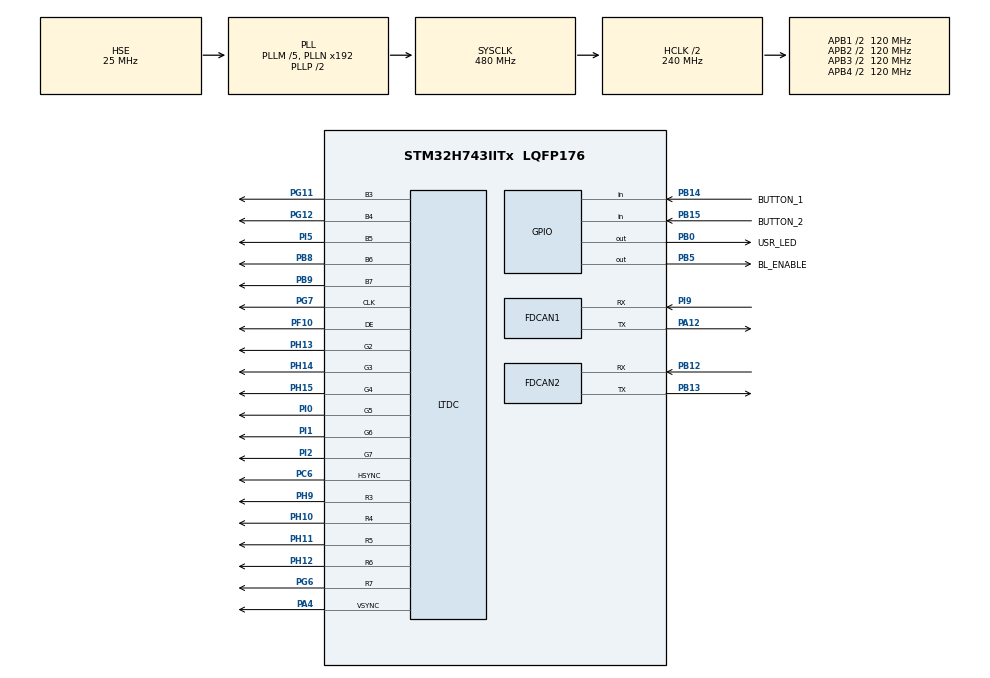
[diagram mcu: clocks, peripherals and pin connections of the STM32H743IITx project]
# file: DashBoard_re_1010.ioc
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CORTEX_M7.default_mode_Activation=1
DMA2D.ColorMode=DMA2D_OUTPUT_RGB565
FDCAN1.CalculateBaudRateNominal=625000
FDCAN1.CalculateTimeBitNominal=1600
FDCAN1.CalculateTimeQuantumNominal=533.3333333333334
FDCAN1.MessageRAMOffset=0
FDCAN2.AutoRetransmission=DISABLE
FDCAN2.CalculateBaudRateNominal=1000000
FDCAN2.CalculateTimeBitNominal=1000
FDCAN2.CalculateTimeQuantumNominal=100.0
FDCAN2.DataPrescaler=5
FDCAN2.DataSyncJumpWidth=2
FDCAN2.DataTimeSeg1=7
FDCAN2.DataTimeSeg2=2
FDCAN2.FrameFormat=FDCAN_FRAME_FD_NO_BRS
FDCAN2.MessageRAMOffset=0x4E4
FDCAN2.Mode=FDCAN_MODE_BUS_MONITORING
FDCAN2.NominalPrescaler=3
FDCAN2.NominalSyncJumpWidth=4
FDCAN2.NominalTimeSeg1=7
FDCAN2.NominalTimeSeg2=2
FDCAN2.RxBufferSize=FDCAN_DATA_BYTES_8
FDCAN2.RxBuffersNbr=0
FDCAN2.RxFifo0ElmtSize=FDCAN_DATA_BYTES_64
FDCAN2.RxFifo0ElmtsNbr=32
FDCAN2.RxFifo1ElmtSize=FDCAN_DATA_BYTES_64
FDCAN2.RxFifo1ElmtsNbr=0
FDCAN2.StdFiltersNbr=50
FDCAN2.TxBuffersNbr=1
FDCAN2.TxElmtSize=FDCAN_DATA_BYTES_8
LTDC.ActiveH=272
LTDC.ActiveW=480
LTDC.Alpha_L0=255
LTDC.Blue=0
LTDC.Blue_L0=0
LTDC.DEPolarity=LTDC_DEPOLARITY_AH
LTDC.FBStartAdress_L0=(uint32_t)FRAMEBUFFER
LTDC.Green=0
LTDC.HBP=43
LTDC.HFP=8
LTDC.HSync=4
LTDC.ImageHeight_L0=272
LTDC.ImageWidth_L0=480
LTDC.Layers=0
LTDC.PixelFormat_L0=LTDC_PIXEL_FORMAT_RGB565
LTDC.Red=0
LTDC.VBP=12
LTDC.VFP=8
LTDC.VSync=4
LTDC.WindowX1_L0=480
LTDC.WindowY1_L0=272
Mcu.Family=STM32H7
Mcu.Name=STM32H743IITx
Mcu.Package=LQFP176
NVIC.FDCAN2_IT0_IRQn=true\:0\:0\:false\:false\:true\:true\:true\:true
NVIC.PriorityGroup=NVIC_PRIORITYGROUP_4
PA12.Mode=FDCAN_Activate
PA12.Signal=FDCAN1_TX
PA13\ (JTMS/SWDIO).Mode=Serial_Wire
PA13\ (JTMS/SWDIO).Signal=DEBUG_JTMS-SWDIO
PA14\ (JTCK/SWCLK).Mode=Serial_Wire
PA14\ (JTCK/SWCLK).Signal=DEBUG_JTCK-SWCLK
PA4.GPIO_Speed=GPIO_SPEED_FREQ_VERY_HIGH
PA4.Mode=RGB565
PA4.Signal=LTDC_VSYNC
PB0.GPIO_Label=USR_LED
PB0.Signal=GPIO_Output
PB12.Mode=FDCAN_Activate
PB12.Signal=FDCAN2_RX
PB13.Mode=FDCAN_Activate
PB13.Signal=FDCAN2_TX
PB14.GPIO_Label=BUTTON_1
PB14.Signal=GPIO_Input
PB15.GPIO_Label=BUTTON_2
PB15.Signal=GPIO_Input
PB5.GPIO_Label=BL_ENABLE
PB5.Signal=GPIO_Output
PB8.GPIO_Speed=GPIO_SPEED_FREQ_VERY_HIGH
PB8.Mode=RGB565
PB8.Signal=LTDC_B6
PB9.GPIO_Speed=GPIO_SPEED_FREQ_VERY_HIGH
PB9.Mode=RGB565
PB9.Signal=LTDC_B7
PC6.GPIO_Speed=GPIO_SPEED_FREQ_VERY_HIGH
PC6.Mode=RGB565
PC6.Signal=LTDC_HSYNC
PF10.GPIO_Speed=GPIO_SPEED_FREQ_VERY_HIGH
PF10.Mode=RGB565
PF10.Signal=LTDC_DE
PG11.GPIO_Speed=GPIO_SPEED_FREQ_VERY_HIGH
PG11.Mode=RGB565
PG11.Signal=LTDC_B3
PG12.GPIO_Speed=GPIO_SPEED_FREQ_VERY_HIGH
PG12.Mode=RGB565
PG12.Signal=LTDC_B4
PG6.GPIO_Speed=GPIO_SPEED_FREQ_VERY_HIGH
PG6.Mode=RGB565
PG6.Signal=LTDC_R7
PG7.GPIO_Speed=GPIO_SPEED_FREQ_VERY_HIGH
PG7.Mode=RGB565
PG7.Signal=LTDC_CLK
PH0-OSC_IN\ (PH0).Mode=HSE-External-Oscillator
PH0-OSC_IN\ (PH0).Signal=RCC_OSC_IN
PH1-OSC_OUT\ (PH1).Mode=HSE-External-Oscillator
PH1-OSC_OUT\ (PH1).Signal=RCC_OSC_OUT
PH10.GPIO_Speed=GPIO_SPEED_FREQ_VERY_HIGH
PH10.Mode=RGB565
PH10.Signal=LTDC_R4
PH11.GPIO_Speed=GPIO_SPEED_FREQ_VERY_HIGH
PH11.Mode=RGB565
PH11.Signal=LTDC_R5
PH12.GPIO_Speed=GPIO_SPEED_FREQ_VERY_HIGH
PH12.Mode=RGB565
PH12.Signal=LTDC_R6
PH13.GPIO_Speed=GPIO_SPEED_FREQ_VERY_HIGH
PH13.Mode=RGB565
PH13.Signal=LTDC_G2
PH14.GPIO_Speed=GPIO_SPEED_FREQ_VERY_HIGH
PH14.Mode=RGB565
PH14.Signal=LTDC_G3
PH15.GPIO_Speed=GPIO_SPEED_FREQ_VERY_HIGH
PH15.Mode=RGB565
PH15.Signal=LTDC_G4
PH9.GPIO_Speed=GPIO_SPEED_FREQ_VERY_HIGH
PH9.Mode=RGB565
PH9.Signal=LTDC_R3
PI0.GPIO_Speed=GPIO_SPEED_FREQ_VERY_HIGH
PI0.Mode=RGB565
PI0.Signal=LTDC_G5
PI1.GPIO_Speed=GPIO_SPEED_FREQ_VERY_HIGH
PI1.Mode=RGB565
PI1.Signal=LTDC_G6
PI2.GPIO_Speed=GPIO_SPEED_FREQ_VERY_HIGH
PI2.Mode=RGB565
PI2.Signal=LTDC_G7
PI5.GPIO_Speed=GPIO_SPEED_FREQ_VERY_HIGH
PI5.Mode=RGB565
PI5.Signal=LTDC_B5
PI9.Mode=FDCAN_Activate
PI9.Signal=FDCAN1_RX
ProjectManager.HeapSize=0x200
ProjectManager.StackSize=0x400
ProjectManager.TargetToolchain=STM32CubeIDE
RCC.ADCFreq_Value=75000000
RCC.APB1Freq_Value=120000000
RCC.APB2Freq_Value=120000000
RCC.APB3Freq_Value=120000000
RCC.APB4Freq_Value=120000000
RCC.CortexFreq_Value=480000000
RCC.D1PPRE=RCC_APB3_DIV2
RCC.D2PPRE1=RCC_APB1_DIV2
RCC.D2PPRE2=RCC_APB2_DIV2
RCC.D3PPRE=RCC_APB4_DIV2
RCC.DIVM1=5
RCC.DIVM2=2
RCC.DIVM3=1
RCC.DIVN1=192
RCC.DIVN2=12
RCC.DIVN3=6
RCC.DIVQ2=5
RCC.DIVR3=13
RCC.FDCANCLockSelection=RCC_FDCANCLKSOURCE_PLL2
RCC.HCLKFreq_Value=240000000
RCC.HPRE=RCC_HCLK_DIV2
RCC.PLL2FRACN=0
RCC.PLL3FRACN=0
RCC.PLLFRACN=0
RCC.PLLSourceVirtual=RCC_PLLSOURCE_HSE
RCC.PWR_Regulator_Voltage_Scale=PWR_REGULATOR_VOLTAGE_SCALE0
RCC.SYSCLKFreq_VALUE=480000000
RCC.SYSCLKSource=RCC_SYSCLKSOURCE_PLLCLK
RCC.USBFreq_Value=480000000
VP_DMA2D_VS_DMA2D.Mode=DMA2D_Activate
VP_MEMORYMAP_VS_MEMORYMAP.Mode=CurAppReg
board=custom

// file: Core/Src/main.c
/* USER CODE BEGIN Header */
/**
  ******************************************************************************
  * @file           : main.c
  * @brief          : Main program body
  ******************************************************************************
  * @attention
  *
  * Copyright (c) 2025 STMicroelectronics.
  * All rights reserved.
  *
  * This software is licensed under terms that can be found in the LICENSE file
  * in the root directory of this software component.
  * If no LICENSE file comes with this software, it is provided AS-IS.
  *
  ******************************************************************************
  */
/* USER CODE END Header */
#include "main.h"

/* USER CODE BEGIN Includes */
#include "lvgl.h"
#include "ui.h"
#include "screens.h"
#include <string.h>
#include <stdio.h>
#include "ttr_can.h"
#include "bsp_mpu.h"
#include "bsp_sdram.h"
#include "bsp_display.h"
#include "can_rx.h"
#include "debug_overlay.h"
#include "bsp_qspi.h"
#include "vehicle_data.h"
#include "can_decode.h"
#include "ui_bind.h"
#include "gif_pages.h"
#include "nav.h"
#include "game_tetris.h"
#include "cell_map.h"
#include "racer.h"
/* USER CODE END Includes */

/* USER CODE BEGIN PD */
/* LCD_WIDTH / LCD_HEIGHT now live in bsp_display.h */

#define COLOR_RED 0xF800
#define COLOR_ORANGE 0xFD20
#define COLOR_YELLOW 0xFFE0
#define COLOR_GREEN 0x07E0
#define COLOR_BLUE 0x001F
#define COLOR_INDIGO 0x4810
#define COLOR_VIOLET 0x9011

#define HOLD 70

#define GLV_LOW_VOLT 19
#define MAX_MOTOR_SPEED 45535
#define HV_LOW_VOLT 350

/*
 * These periods used to be counted in main loop iterations, but loop speed
 * varies with scene complexity, so the same number meant different amounts of
 * time on different pages. They are all wall-clock milliseconds from
 * HAL_GetTick() now, which behaves predictably.
 */
/* How long the splash screen stays up is decided by UIBind_BootComplete(),
 * which waits for the animation and then for CAN. */
#define UI_UPDATE_PERIOD_MS      25U   /* rate at which the UI re-reads vehicle data (40 Hz) */
/* Button sampling period and debounce now live in Core/User/nav.h, which the
 * simulator shares. */

#define NUM_OF_CELLS 112 //電芯數量
#define DATA_PER_PACK 4 //每個封包有4個電芯的電壓讀值
#define TOTAL_SEG 8 //8個單元
#define NUM_OF_TSENSOR 80
/* USER CODE END PD */

DMA2D_HandleTypeDef hdma2d;

FDCAN_HandleTypeDef hfdcan1;
FDCAN_HandleTypeDef hfdcan2;

LTDC_HandleTypeDef hltdc;

/* USER CODE BEGIN PV */
/*
 * The framebuffer now lives in SDRAM. It used to be a 261 KB array in internal
 * RAM_D1, which consumed half of it. This macro only supplies the initial
 * display address to the CubeMX-generated MX_LTDC_Init(); page flipping is
 * handled by bsp_display.c.
 */
#define FRAMEBUFFER ((uint16_t (*)[LCD_WIDTH])SDRAM_FB0_ADDR)

FDCAN_FilterTypeDef sFilterConfig;
FDCAN_TxHeaderTypeDef TxHeader;
FDCAN_RxHeaderTypeDef RxHeader;

/* Scratch buffer the FDCAN ISR receives into. TTR_CAN_MAX_DLC is 48. */
uint8_t RX[TTR_CAN_MAX_DLC] = {0};

/*
 * QSPI write-path check, triggered from a debugger.
 *
 * Set g_qspi_run_write_test to 1 in a watch window and the main loop runs
 * BSP_QSPI_SelfTestWrite() once, leaving the outcome in
 * g_qspi_write_test_result: 1 for pass, 0 for fail, -1 for not yet run.
 *
 * Triggered rather than run at boot for two reasons: it erases a sector, so
 * doing it every startup wears the part for no reason, and a chip erase or a
 * failed erase blocking for seconds during boot would look like a hang.
 */
volatile uint8_t g_qspi_run_write_test = 0;
volatile int8_t  g_qspi_write_test_result = -1;

/* CAN IDs the hardware filter admits. Order does not matter; the trailing 0
 * terminates the list. Adding one here also needs a matching case in
 * can_decode.c, otherwise the frame arrives and is silently dropped. */
static uint16_t STD_ID_LIST_CAN[35] = {
    TTR_CAN_ID_VCU_VCU_STATE,   TTR_CAN_ID_VCU_VCU_SDC,
    TTR_CAN_ID_VCU_VCU_SENSOR1, TTR_CAN_ID_VCU_VCU_SENSOR2,
    TTR_CAN_ID_VCU_VCU_SYSTEM_STATUS, TTR_CAN_ID_VCU_VCU_ERROR,
    TTR_CAN_ID_VCU_VCU_ONLINE,  TTR_CAN_ID_VCU_VCU_MCU_STATUS,
    TTR_CAN_ID_VCU_VCU_DASH,
    TTR_CAN_ID_VCU_VCU_GPS,     TTR_CAN_ID_AMS_AMS_STATUS_BASIC,
    TTR_CAN_ID_AMS_AMS_MODULE_1, TTR_CAN_ID_AMS_AMS_MODULE_2,
    TTR_CAN_ID_AMS_AMS_MODULE_3, TTR_CAN_ID_AMS_AMS_MODULE_4,
    TTR_CAN_ID_AMS_AMS_MODULE_5, TTR_CAN_ID_AMS_AMS_MODULE_6,
    TTR_CAN_ID_AMS_AMS_MODULE_7, TTR_CAN_ID_AMS_AMS_MODULE_8,
    0
};

/* USER CODE END PV */

void SystemClock_Config(void);
void PeriphCommonClock_Config(void);
static void MPU_Config(void);
static void MX_GPIO_Init(void);
static void MX_LTDC_Init(void);
static void MX_DMA2D_Init(void);
static void MX_FDCAN2_Init(void);
static void MX_FDCAN1_Init(void);
/* USER CODE BEGIN PFP */
static void ScanButtons(void);

/* USER CODE END PFP */

int main(void)
{

  /* USER CODE BEGIN 1 */
  bool welcome_done = false;
  uint32_t last_ui_update = 0;
  uint32_t last_button_scan = 0;
  /* USER CODE END 1 */

  /* MPU Configuration--------------------------------------------------------*/
  MPU_Config();

  /* MCU Configuration--------------------------------------------------------*/

  /* Reset of all peripherals, Initializes the Flash interface and the Systick. */
  HAL_Init();

  /* USER CODE BEGIN Init */
  /*
   * Reconfigure the MPU and turn on I-cache and D-cache.
   *
   * The MPU_Config() call above is CubeMX-generated and marks
   * 0x60000000..0xDFFFFFFF as no-access, a range that contains the SDRAM at
   * 0xC0000000 - the reason the board's 32 MB of SDRAM was unusable. The call
   * below replaces that configuration entirely.
   */
  BSP_MPU_ConfigAndEnableCache();
  /* USER CODE END Init */

  /* Configure the system clock */
  SystemClock_Config();

  /* Configure the peripherals common clocks */
  PeriphCommonClock_Config();

  /* USER CODE BEGIN SysInit */
  /* SDRAM must be ready before MX_LTDC_Init(): LTDC starts fetching from the
   * framebuffer address the moment it is enabled. */
  BSP_SDRAM_Init();
  if (!BSP_SDRAM_SelfTest())
  {
    Error_Handler();
  }

  /*
   * QSPI flash on the core board. Nothing is stored there yet; it is wired up
   * so the driver can be verified against real hardware - check
   * BSP_QSPI_GetJedecId() and BSP_QSPI_GetFlashSize().
   *
   * The return value is deliberately ignored: this chip is spare capacity for
   * artwork after the UI redesign, the dashboard runs fine without it, and it
   * is not worth blanking the display over.
   */
  (void)BSP_QSPI_Init();
  /* USER CODE END SysInit */

  /* Initialize all configured peripherals */
  MX_GPIO_Init();
  MX_LTDC_Init();
  MX_DMA2D_Init();
  MX_FDCAN2_Init();
  MX_FDCAN1_Init();
  /* USER CODE BEGIN 2 */
  HAL_GPIO_WritePin(BL_ENABLE_GPIO_Port, BL_ENABLE_Pin, 1);
  VehicleData_Init();

  BSP_Display_Init();
  ui_init();
  UIBind_Init();
  DebugOverlay_Init();
  Nav_Init();
  GameTetris_Init();
  CellMap_Init();
  Racer_Init();

  /* Animations come from QSPI. Does nothing if the part is blank, so a
   * board that has never been programmed still boots normally. */
  GifPages_Init();

  TxHeader.Identifier = 0x580;
  TxHeader.IdType = FDCAN_STANDARD_ID;
  TxHeader.TxFrameType = FDCAN_DATA_FRAME;
  TxHeader.DataLength = FDCAN_DLC_BYTES_8;
  TxHeader.ErrorStateIndicator = FDCAN_ESI_ACTIVE;
  TxHeader.BitRateSwitch = FDCAN_BRS_ON;
  TxHeader.FDFormat = FDCAN_FD_CAN;
  TxHeader.TxEventFifoControl = FDCAN_NO_TX_EVENTS;
  TxHeader.MessageMarker = 0x0;
  /*
  if(HAL_FDCAN_AddMessageToTxBuffer(&hfdcan2, &TxHeader, TX, FDCAN_TX_BUFFER0) != HAL_OK)
  {
  	Error_Handler();
  }
  */

	HAL_FDCAN_ConfigGlobalFilter(&hfdcan2,
		FDCAN_REJECT, FDCAN_REJECT,
		FDCAN_REJECT, FDCAN_REJECT);

	FDCAN_FilterTypeDef sFilterConfigCAN2 = {0};
	sFilterConfigCAN2.IdType      = FDCAN_STANDARD_ID;
	sFilterConfigCAN2.FilterType  = FDCAN_FILTER_DUAL ;
	sFilterConfigCAN2.FilterConfig= FDCAN_FILTER_TO_RXFIFO0;

	//CAN2
	for (uint32_t i = 0; i < (sizeof(STD_ID_LIST_CAN)/sizeof(STD_ID_LIST_CAN[0])); i++)
	{
		sFilterConfigCAN2.FilterIndex = i;
		sFilterConfigCAN2.FilterID1   = STD_ID_LIST_CAN[i];
		sFilterConfigCAN2.FilterID2   = 0x7FF;
		if (HAL_FDCAN_ConfigFilter(&hfdcan2, &sFilterConfigCAN2) != HAL_OK) {
			Error_Handler();
		}
	}

	  /* Start the FDCAN module */
	if(HAL_FDCAN_Start(&hfdcan2) != HAL_OK)
	{
	Error_Handler();
	}

	HAL_FDCAN_ActivateNotification(&hfdcan2, FDCAN_IT_RX_FIFO0_NEW_MESSAGE, 0);

  HAL_GPIO_WritePin(USR_LED_GPIO_Port, USR_LED_Pin, 1);

  /* USER CODE END 2 */

  /* Infinite loop */
  /* USER CODE BEGIN WHILE */
  while (1)
  {
    const uint32_t now = HAL_GetTick();

    if (g_qspi_run_write_test != 0u)
    {
      g_qspi_run_write_test = 0u;
      g_qspi_write_test_result = BSP_QSPI_SelfTestWrite() ? 1 : 0;
    }

    /* Decode CAN before LVGL renders, so this pass draws the newest values. */
    CAN_Poll();

    /*
     * LVGL timers and rendering.
     *
     * This used to be lv_timer_handler() followed by
     * HAL_Delay(time_till_next), which put the whole main loop to sleep for a
     * full refresh period (up to 33 ms). Buttons and data updates were dragged
     * along with it, and widgets touched by updatescreen() had to wait another
     * round to appear - two refresh periods from CAN frame to pixel. The loop
     * no longer sleeps; each task below throttles itself on wall-clock time.
     */
    lv_timer_handler();
    BSP_Display_Service();

    if (!welcome_done && UIBind_BootComplete())
    {
      welcome_done = true;
      Nav_ShowPage(1);
      UIBind_ArmStartupSweep();
    }

    /*
     * Let the EEZ-generated screens poll get_var_xxx() once (implemented in
     * ui_bind.c). The old code wrote widgets directly from updatescreen();
     * the new code has EEZ read its bound variables instead, so this line is
     * essential - without it the display sits at its default values and
     * nothing reports an error.
     */
    if ((now - last_ui_update) >= UI_UPDATE_PERIOD_MS)
    {
      last_ui_update = now;
      ui_tick();
      UIBind_ApplyDynamicStyles();
    }

    /* Cheap while the game page is not up: it returns immediately. */
    GameTetris_Service(now);
    GifPages_ShowcaseService(now);
    CellMap_Service(now);
    Racer_Service(now);

    if ((now - last_button_scan) >= NAV_SCAN_PERIOD_MS)
    {
      last_button_scan = now;
      ScanButtons();
    }

    /* USER CODE END WHILE */

  }
}

void SystemClock_Config(void)
{
  RCC_OscInitTypeDef RCC_OscInitStruct = {0};
  RCC_ClkInitTypeDef RCC_ClkInitStruct = {0};

  /** Supply configuration update enable
  */
  HAL_PWREx_ConfigSupply(PWR_LDO_SUPPLY);

  /** Configure the main internal regulator output voltage
  */
  __HAL_PWR_VOLTAGESCALING_CONFIG(PWR_REGULATOR_VOLTAGE_SCALE0);

  while(!__HAL_PWR_GET_FLAG(PWR_FLAG_VOSRDY)) {}

  /** Initializes the RCC Oscillators according to the specified parameters
  * in the RCC_OscInitTypeDef structure.
  */
  RCC_OscInitStruct.OscillatorType = RCC_OSCILLATORTYPE_HSE;
  RCC_OscInitStruct.HSEState = RCC_HSE_ON;
  RCC_OscInitStruct.PLL.PLLState = RCC_PLL_ON;
  RCC_OscInitStruct.PLL.PLLSource = RCC_PLLSOURCE_HSE;
  RCC_OscInitStruct.PLL.PLLM = 5;
  RCC_OscInitStruct.PLL.PLLN = 192;
  RCC_OscInitStruct.PLL.PLLP = 2;
  RCC_OscInitStruct.PLL.PLLQ = 2;
  RCC_OscInitStruct.PLL.PLLR = 2;
  RCC_OscInitStruct.PLL.PLLRGE = RCC_PLL1VCIRANGE_2;
  RCC_OscInitStruct.PLL.PLLVCOSEL = RCC_PLL1VCOWIDE;
  RCC_OscInitStruct.PLL.PLLFRACN = 0;
  if (HAL_RCC_OscConfig(&RCC_OscInitStruct) != HAL_OK)
  {
    Error_Handler();
  }

  /** Initializes the CPU, AHB and APB buses clocks
  */
  RCC_ClkInitStruct.ClockType = RCC_CLOCKTYPE_HCLK|RCC_CLOCKTYPE_SYSCLK
                              |RCC_CLOCKTYPE_PCLK1|RCC_CLOCKTYPE_PCLK2
                              |RCC_CLOCKTYPE_D3PCLK1|RCC_CLOCKTYPE_D1PCLK1;
  RCC_ClkInitStruct.SYSCLKSource = RCC_SYSCLKSOURCE_PLLCLK;
  RCC_ClkInitStruct.SYSCLKDivider = RCC_SYSCLK_DIV1;
  RCC_ClkInitStruct.AHBCLKDivider = RCC_HCLK_DIV2;
  RCC_ClkInitStruct.APB3CLKDivider = RCC_APB3_DIV2;
  RCC_ClkInitStruct.APB1CLKDivider = RCC_APB1_DIV2;
  RCC_ClkInitStruct.APB2CLKDivider = RCC_APB2_DIV2;
  RCC_ClkInitStruct.APB4CLKDivider = RCC_APB4_DIV2;

  if (HAL_RCC_ClockConfig(&RCC_ClkInitStruct, FLASH_LATENCY_4) != HAL_OK)
  {
    Error_Handler();
  }
}

void PeriphCommonClock_Config(void)
{
  RCC_PeriphCLKInitTypeDef PeriphClkInitStruct = {0};

  /** Initializes the peripherals clock
  */
  PeriphClkInitStruct.PeriphClockSelection = RCC_PERIPHCLK_FDCAN;
  PeriphClkInitStruct.PLL2.PLL2M = 2;
  PeriphClkInitStruct.PLL2.PLL2N = 12;
  PeriphClkInitStruct.PLL2.PLL2P = 2;
  PeriphClkInitStruct.PLL2.PLL2Q = 5;
  PeriphClkInitStruct.PLL2.PLL2R = 2;
  PeriphClkInitStruct.PLL2.PLL2RGE = RCC_PLL2VCIRANGE_3;
  PeriphClkInitStruct.PLL2.PLL2VCOSEL = RCC_PLL2VCOMEDIUM;
  PeriphClkInitStruct.PLL2.PLL2FRACN = 0;
  PeriphClkInitStruct.FdcanClockSelection = RCC_FDCANCLKSOURCE_PLL2;
  if (HAL_RCCEx_PeriphCLKConfig(&PeriphClkInitStruct) != HAL_OK)
  {
    Error_Handler();
  }
}

static void MX_DMA2D_Init(void)
{

  hdma2d.Instance = DMA2D;
  hdma2d.Init.Mode = DMA2D_M2M;
  hdma2d.Init.ColorMode = DMA2D_OUTPUT_RGB565;
  hdma2d.Init.OutputOffset = 0;
  hdma2d.LayerCfg[1].InputOffset = 0;
  hdma2d.LayerCfg[1].InputColorMode = DMA2D_INPUT_RGB565;
  hdma2d.LayerCfg[1].AlphaMode = DMA2D_NO_MODIF_ALPHA;
  hdma2d.LayerCfg[1].InputAlpha = 0;
  hdma2d.LayerCfg[1].AlphaInverted = DMA2D_REGULAR_ALPHA;
  hdma2d.LayerCfg[1].RedBlueSwap = DMA2D_RB_REGULAR;
  hdma2d.LayerCfg[1].ChromaSubSampling = DMA2D_NO_CSS;
  if (HAL_DMA2D_Init(&hdma2d) != HAL_OK)
  {
    Error_Handler();
  }
  if (HAL_DMA2D_ConfigLayer(&hdma2d, 1) != HAL_OK)
  {
    Error_Handler();
  }

}

static void MX_FDCAN1_Init(void)
{

  hfdcan1.Instance = FDCAN1;
  hfdcan1.Init.FrameFormat = FDCAN_FRAME_CLASSIC;
  hfdcan1.Init.Mode = FDCAN_MODE_NORMAL;
  hfdcan1.Init.AutoRetransmission = DISABLE;
  hfdcan1.Init.TransmitPause = DISABLE;
  hfdcan1.Init.ProtocolException = DISABLE;
  hfdcan1.Init.NominalPrescaler = 16;
  hfdcan1.Init.NominalSyncJumpWidth = 1;
  hfdcan1.Init.NominalTimeSeg1 = 1;
  hfdcan1.Init.NominalTimeSeg2 = 1;
  hfdcan1.Init.DataPrescaler = 1;
  hfdcan1.Init.DataSyncJumpWidth = 1;
  hfdcan1.Init.DataTimeSeg1 = 1;
  hfdcan1.Init.DataTimeSeg2 = 1;
  hfdcan1.Init.MessageRAMOffset = 0;
  hfdcan1.Init.StdFiltersNbr = 0;
  hfdcan1.Init.ExtFiltersNbr = 0;
  hfdcan1.Init.RxFifo0ElmtsNbr = 0;
  hfdcan1.Init.RxFifo0ElmtSize = FDCAN_DATA_BYTES_8;
  hfdcan1.Init.RxFifo1ElmtsNbr = 0;
  hfdcan1.Init.RxFifo1ElmtSize = FDCAN_DATA_BYTES_8;
  hfdcan1.Init.RxBuffersNbr = 0;
  hfdcan1.Init.RxBufferSize = FDCAN_DATA_BYTES_8;
  hfdcan1.Init.TxEventsNbr = 0;
  hfdcan1.Init.TxBuffersNbr = 0;
  hfdcan1.Init.TxFifoQueueElmtsNbr = 0;
  hfdcan1.Init.TxFifoQueueMode = FDCAN_TX_FIFO_OPERATION;
  hfdcan1.Init.TxElmtSize = FDCAN_DATA_BYTES_8;
  if (HAL_FDCAN_Init(&hfdcan1) != HAL_OK)
  {
    Error_Handler();
  }

}

static void MX_FDCAN2_Init(void)
{

  hfdcan2.Instance = FDCAN2;
  hfdcan2.Init.FrameFormat = FDCAN_FRAME_FD_NO_BRS;
  hfdcan2.Init.Mode = FDCAN_MODE_BUS_MONITORING;
  hfdcan2.Init.AutoRetransmission = DISABLE;
  hfdcan2.Init.TransmitPause = DISABLE;
  hfdcan2.Init.ProtocolException = DISABLE;
  hfdcan2.Init.NominalPrescaler = 3;
  hfdcan2.Init.NominalSyncJumpWidth = 4;
  hfdcan2.Init.NominalTimeSeg1 = 7;
  hfdcan2.Init.NominalTimeSeg2 = 2;
  hfdcan2.Init.DataPrescaler = 5;
  hfdcan2.Init.DataSyncJumpWidth = 2;
  hfdcan2.Init.DataTimeSeg1 = 7;
  hfdcan2.Init.DataTimeSeg2 = 2;
  hfdcan2.Init.MessageRAMOffset = 0x4E4;
  hfdcan2.Init.StdFiltersNbr = 50;
  hfdcan2.Init.ExtFiltersNbr = 0;
  hfdcan2.Init.RxFifo0ElmtsNbr = 32;
  hfdcan2.Init.RxFifo0ElmtSize = FDCAN_DATA_BYTES_64;
  hfdcan2.Init.RxFifo1ElmtsNbr = 0;
  hfdcan2.Init.RxFifo1ElmtSize = FDCAN_DATA_BYTES_64;
  hfdcan2.Init.RxBuffersNbr = 0;
  hfdcan2.Init.RxBufferSize = FDCAN_DATA_BYTES_8;
  hfdcan2.Init.TxEventsNbr = 0;
  hfdcan2.Init.TxBuffersNbr = 1;
  hfdcan2.Init.TxFifoQueueElmtsNbr = 0;
  hfdcan2.Init.TxFifoQueueMode = FDCAN_TX_FIFO_OPERATION;
  hfdcan2.Init.TxElmtSize = FDCAN_DATA_BYTES_8;
  if (HAL_FDCAN_Init(&hfdcan2) != HAL_OK)
  {
    Error_Handler();
  }

}

static void MX_LTDC_Init(void)
{

  LTDC_LayerCfgTypeDef pLayerCfg = {0};

  hltdc.Instance = LTDC;
  hltdc.Init.HSPolarity = LTDC_HSPOLARITY_AL;
  hltdc.Init.VSPolarity = LTDC_VSPOLARITY_AL;
  hltdc.Init.DEPolarity = LTDC_DEPOLARITY_AH;
  hltdc.Init.PCPolarity = LTDC_PCPOLARITY_IPC;
  hltdc.Init.HorizontalSync = 3;
  hltdc.Init.VerticalSync = 3;
  hltdc.Init.AccumulatedHBP = 46;
  hltdc.Init.AccumulatedVBP = 15;
  hltdc.Init.AccumulatedActiveW = 526;
  hltdc.Init.AccumulatedActiveH = 287;
  hltdc.Init.TotalWidth = 534;
  hltdc.Init.TotalHeigh = 295;
  hltdc.Init.Backcolor.Blue = 0;
  hltdc.Init.Backcolor.Green = 0;
  hltdc.Init.Backcolor.Red = 0;
  if (HAL_LTDC_Init(&hltdc) != HAL_OK)
  {
    Error_Handler();
  }
  pLayerCfg.WindowX0 = 0;
  pLayerCfg.WindowX1 = 480;
  pLayerCfg.WindowY0 = 0;
  pLayerCfg.WindowY1 = 272;
  pLayerCfg.PixelFormat = LTDC_PIXEL_FORMAT_RGB565;
  pLayerCfg.Alpha = 255;
  pLayerCfg.Alpha0 = 0;
  pLayerCfg.BlendingFactor1 = LTDC_BLENDING_FACTOR1_CA;
  pLayerCfg.BlendingFactor2 = LTDC_BLENDING_FACTOR2_CA;
  pLayerCfg.FBStartAdress = (uint32_t)FRAMEBUFFER;
  pLayerCfg.ImageWidth = 480;
  pLayerCfg.ImageHeight = 272;
  pLayerCfg.Backcolor.Blue = 0;
  pLayerCfg.Backcolor.Green = 0;
  pLayerCfg.Backcolor.Red = 0;
  if (HAL_LTDC_ConfigLayer(&hltdc, &pLayerCfg, 0) != HAL_OK)
  {
    Error_Handler();
  }

}

static void MX_GPIO_Init(void)
{
  GPIO_InitTypeDef GPIO_InitStruct = {0};

  /* GPIO Ports Clock Enable */
  __HAL_RCC_GPIOI_CLK_ENABLE();
  __HAL_RCC_GPIOF_CLK_ENABLE();
  __HAL_RCC_GPIOH_CLK_ENABLE();
  __HAL_RCC_GPIOA_CLK_ENABLE();
  __HAL_RCC_GPIOB_CLK_ENABLE();
  __HAL_RCC_GPIOG_CLK_ENABLE();
  __HAL_RCC_GPIOC_CLK_ENABLE();

  /*Configure GPIO pin Output Level */
  HAL_GPIO_WritePin(GPIOB, USR_LED_Pin|BL_ENABLE_Pin, GPIO_PIN_RESET);

  /*Configure GPIO pins : USR_LED_Pin BL_ENABLE_Pin */
  GPIO_InitStruct.Pin = USR_LED_Pin|BL_ENABLE_Pin;
  GPIO_InitStruct.Mode = GPIO_MODE_OUTPUT_PP;
  GPIO_InitStruct.Pull = GPIO_NOPULL;
  GPIO_InitStruct.Speed = GPIO_SPEED_FREQ_LOW;
  HAL_GPIO_Init(GPIOB, &GPIO_InitStruct);

  /*Configure GPIO pins : BUTTON_1_Pin BUTTON_2_Pin */
  GPIO_InitStruct.Pin = BUTTON_1_Pin|BUTTON_2_Pin;
  GPIO_InitStruct.Mode = GPIO_MODE_INPUT;
  GPIO_InitStruct.Pull = GPIO_NOPULL;
  HAL_GPIO_Init(GPIOB, &GPIO_InitStruct);

}

/* USER CODE BEGIN 4 */

/*
 * Read the two page-change buttons and hand the result to nav.c.
 *
 * Everything with behaviour - debounce, the wrap at both ends of the page
 * list, the both-held gesture - lives there so the simulator runs it too. All
 * that is left here is the part that genuinely needs hardware.
 *
 * The buttons are active low.
 */
static void ScanButtons(void)
{
  Nav_Scan(HAL_GetTick(),
           HAL_GPIO_ReadPin(BUTTON_1_GPIO_Port, BUTTON_1_Pin) == 0,
           HAL_GPIO_ReadPin(BUTTON_2_GPIO_Port, BUTTON_2_Pin) == 0);
}

//HAL FDCAN call back
void HAL_FDCAN_RxFifo0Callback(FDCAN_HandleTypeDef *hfdcan, uint32_t RxFifo0ITs)
{
  if((RxFifo0ITs & FDCAN_IT_RX_FIFO0_NEW_MESSAGE) != RESET)
  {
    if(hfdcan->Instance == FDCAN2)
    {
      /*
       * 中斷裡只做一件事:把硬體 FIFO 裡的 frame 搬進軟體佇列,然後馬上結束。
       * 解包留給主迴圈的 CAN_Poll()(見 can_decode.c)。
       *
       * 用 while 一次把 FIFO 清空 —— 收到通知時裡面可能不只一包。
       */
      while(HAL_FDCAN_GetRxFifoFillLevel(&hfdcan2, FDCAN_RX_FIFO0) > 0){
        if(HAL_FDCAN_GetRxMessage(&hfdcan2, FDCAN_RX_FIFO0, &RxHeader, RX) != HAL_OK){
          break;
        }

        ttr_can_frame_t frame;
        frame.id  = RxHeader.Identifier;
        frame.dlc = RxHeader.DataLength;
        memcpy(frame.data, RX, TTR_CAN_MAX_DLC);

        CAN_RX_Enqueue(&frame);
      }
    }
  }
}

/* USER CODE END 4 */

 /* MPU Configuration */

void MPU_Config(void)
{
  MPU_Region_InitTypeDef MPU_InitStruct = {0};

  /* Disables the MPU */
  HAL_MPU_Disable();

  /** Initializes and configures the Region and the memory to be protected
  */
  MPU_InitStruct.Enable = MPU_REGION_ENABLE;
  MPU_InitStruct.Number = MPU_REGION_NUMBER0;
  MPU_InitStruct.BaseAddress = 0x0;
  MPU_InitStruct.Size = MPU_REGION_SIZE_4GB;
  MPU_InitStruct.SubRegionDisable = 0x87;
  MPU_InitStruct.TypeExtField = MPU_TEX_LEVEL0;
  MPU_InitStruct.AccessPermission = MPU_REGION_NO_ACCESS;
  MPU_InitStruct.DisableExec = MPU_INSTRUCTION_ACCESS_DISABLE;
  MPU_InitStruct.IsShareable = MPU_ACCESS_SHAREABLE;
  MPU_InitStruct.IsCacheable = MPU_ACCESS_NOT_CACHEABLE;
  MPU_InitStruct.IsBufferable = MPU_ACCESS_NOT_BUFFERABLE;

  HAL_MPU_ConfigRegion(&MPU_InitStruct);
  /* Enables the MPU */
  HAL_MPU_Enable(MPU_PRIVILEGED_DEFAULT);

}

void Error_Handler(void)
{
  __disable_irq();
  while (1)
  {
  }
}
